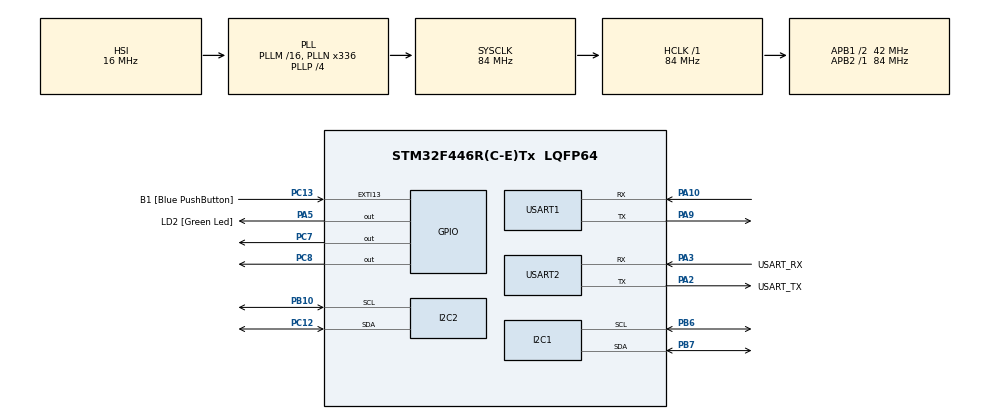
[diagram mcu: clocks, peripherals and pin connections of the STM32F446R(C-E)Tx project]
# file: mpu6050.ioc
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I2C1.I2C_Mode=I2C_Fast
Mcu.Family=STM32F4
Mcu.Name=STM32F446R(C-E)Tx
Mcu.Package=LQFP64
NVIC.PriorityGroup=NVIC_PRIORITYGROUP_0
PA10.Mode=Asynchronous
PA10.Signal=USART1_RX
PA13.GPIO_Label=TMS
PA13.Mode=Serial_Wire
PA13.Signal=SYS_JTMS-SWDIO
PA14.GPIO_Label=TCK
PA14.Mode=Serial_Wire
PA14.Signal=SYS_JTCK-SWCLK
PA2.GPIO_Label=USART_TX
PA2.Mode=Asynchronous
PA2.Signal=USART2_TX
PA3.GPIO_Label=USART_RX
PA3.Mode=Asynchronous
PA3.Signal=USART2_RX
PA5.GPIO_Label=LD2 [Green Led]
PA5.Signal=GPIO_Output
PA9.Mode=Asynchronous
PA9.Signal=USART1_TX
PB10.Mode=I2C
PB10.Signal=I2C2_SCL
PB3.GPIO_Label=SWO
PB3.Signal=SYS_JTDO-SWO
PB6.Mode=I2C
PB6.Signal=I2C1_SCL
PB7.Mode=I2C
PB7.Signal=I2C1_SDA
PC12.Mode=I2C
PC12.Signal=I2C2_SDA
PC13.GPIO_Label=B1 [Blue PushButton]
PC13.GPIO_ModeDefaultEXTI=GPIO_MODE_IT_FALLING
PC13.Signal=GPXTI13
PC14-OSC32_IN.Mode=LSE-External-Oscillator
PC14-OSC32_IN.Signal=RCC_OSC32_IN
PC15-OSC32_OUT.Mode=LSE-External-Oscillator
PC15-OSC32_OUT.Signal=RCC_OSC32_OUT
PC7.Signal=GPIO_Output
PC8.Signal=GPIO_Output
PH0-OSC_IN.Mode=HSE-External-Oscillator
PH0-OSC_IN.Signal=RCC_OSC_IN
PH1-OSC_OUT.Mode=HSE-External-Oscillator
PH1-OSC_OUT.Signal=RCC_OSC_OUT
ProjectManager.HeapSize=0x200
ProjectManager.StackSize=0x400
ProjectManager.TargetToolchain=STM32CubeIDE
RCC.48MHZClocksFreq_Value=84000000
RCC.AHBFreq_Value=84000000
RCC.APB1CLKDivider=RCC_HCLK_DIV2
RCC.APB1Freq_Value=42000000
RCC.APB1TimFreq_Value=84000000
RCC.APB2Freq_Value=84000000
RCC.APB2TimFreq_Value=84000000
RCC.CortexFreq_Value=84000000
RCC.FLatency-AdvancedSettings=FLASH_LATENCY_2
RCC.HCLKFreq_Value=84000000
RCC.HSE_VALUE=8000000
RCC.HSI_VALUE=16000000
RCC.PLLN=336
RCC.PLLP=RCC_PLLP_DIV4
RCC.SYSCLKFreq_VALUE=84000000
RCC.SYSCLKSource=RCC_SYSCLKSOURCE_PLLCLK
RCC.USBFreq_Value=168000000
RCC.VCOOutputFreq_Value=336000000
USART1.VirtualMode=VM_ASYNC
USART2.VirtualMode=VM_ASYNC
board=NUCLEO-F446RE

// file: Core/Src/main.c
/* USER CODE BEGIN Header */
/**
  ******************************************************************************
  * @file           : main.c
  * @brief          : Main program body
  ******************************************************************************
  * @attention
  *
  * Copyright (c) 2023 STMicroelectronics.
  * All rights reserved.
  *
  * This software is licensed under terms that can be found in the LICENSE file
  * in the root directory of this software component.
  * If no LICENSE file comes with this software, it is provided AS-IS.
  *
  ******************************************************************************
  */
/* USER CODE END Header */
#include "main.h"

/* USER CODE BEGIN Includes */
#include <stdio.h>
#include <string.h>
#include <stdlib.h>
#include <math.h>
#include <stdbool.h>
/* USER CODE END Includes */

/* USER CODE BEGIN PD */
#define MPU6050_ADDRNN 0x69<<1
#define MPU6050_ADDR 0x68<<1
#define PWR_MGMT_1_REG 0x6B
#define SMPLRT_DIV_REG 0x19
#define GYRO_CNFG_REG 0x1B
#define ACC_CNFG_REG 0x1C
#define LPF_REG 0x1A
/* USER CODE END PD */

I2C_HandleTypeDef hi2c1;
I2C_HandleTypeDef hi2c2;

UART_HandleTypeDef huart1;
UART_HandleTypeDef huart2;

/* USER CODE BEGIN PV */
uint8_t data;
uint8_t buffer[2],tuffer[6],cuffer[6]; // ham gyro ve acc değerlerinin tutulduğu listeler
int16_t gyro_raw[3],acc_raw[3];        // anlamlandırılmış ham değerler
float gyro_cal[3],acc_cal[3]; // kalibrasyon offsetlerini tutan liste
int16_t acc_total_vector;
float angle_pitch_gyro, angle_roll_gyro;
float angle_pitch_acc, angle_roll_acc, angle_pitch_acc_sum, angle_roll_acc_sum,acc_total_vector_sum;
float angle_pitch,angle_roll;
int16_t raw_temp;
float temp;
int i;
float prevtime,prevtime1,time1,elapsedtime1,prevtime2,time2,elapsedtime2;
HAL_StatusTypeDef set_gyro;
/* USER CODE END PV */

void SystemClock_Config(void);
static void MX_GPIO_Init(void);
static void MX_USART2_UART_Init(void);
static void MX_I2C1_Init(void);
static void MX_USART1_UART_Init(void);
static void MX_I2C2_Init(void);
/* USER CODE BEGIN PFP */
uint8_t address1[10];
     uint8_t address[10];
     uint8_t k = 0;
     uint8_t m = 0;
/* USER CODE END PFP */

int main(void)
{

  /* MCU Configuration--------------------------------------------------------*/

  /* Reset of all peripherals, Initializes the Flash interface and the Systick. */
  HAL_Init();

  /* Configure the system clock */
  SystemClock_Config();

  /* Initialize all configured peripherals */
  MX_GPIO_Init();
  MX_USART2_UART_Init();
  MX_I2C1_Init();
  MX_USART1_UART_Init();
  MX_I2C2_Init();
  /* USER CODE BEGIN 2 */
  // PWR_MGMT_1 CNFG
      data = 0x00;
      HAL_I2C_Mem_Write (&hi2c1, MPU6050_ADDR, PWR_MGMT_1_REG, 1, &data, 1, HAL_MAX_DELAY);
      HAL_I2C_Mem_Write (&hi2c2, MPU6050_ADDR, PWR_MGMT_1_REG, 1, &data, 1, HAL_MAX_DELAY);

      //kullanılan birimin pointer olarak döndürülmesi, cihaz slave adresi, register adresi, register boyutu, verinin pointer
      //olarak döndürülmesi, verinin boyutu , zaman aşımıı değeri
      // GYRO CNFG --> +-500 derece/saniye --> 08
      data = 0x08;
      HAL_I2C_Mem_Write (&hi2c1, MPU6050_ADDR, GYRO_CNFG_REG, 1, &data, 1, HAL_MAX_DELAY);
      HAL_I2C_Mem_Write (&hi2c2, MPU6050_ADDR, GYRO_CNFG_REG, 1, &data, 1, HAL_MAX_DELAY);

      // ACC CNFG --> +-8g --> 10
      data = 0x10;

      HAL_I2C_Mem_Write (&hi2c1, MPU6050_ADDR, ACC_CNFG_REG, 1, &data, 1, HAL_MAX_DELAY);
      HAL_I2C_Mem_Write (&hi2c2, MPU6050_ADDR, ACC_CNFG_REG, 1, &data, 1, HAL_MAX_DELAY);

      data = 0x03;

      HAL_I2C_Mem_Write (&hi2c1, MPU6050_ADDR, LPF_REG, 1, &data, 1, HAL_MAX_DELAY);
      HAL_I2C_Mem_Write (&hi2c2, MPU6050_ADDR, LPF_REG, 1, &data, 1, HAL_MAX_DELAY);

      for(i=0; i<200; i++)
      {
    	  prevtime2 = time2;
    	  time2 = HAL_GetTick();
    	  elapsedtime2=(time2-prevtime2)*1000;

    	  cuffer[0]=0x43;
    	  HAL_I2C_Master_Transmit(&hi2c1,MPU6050_ADDR,cuffer,1,HAL_MAX_DELAY);
			HAL_I2C_Master_Receive(&hi2c1,MPU6050_ADDR,cuffer,6,HAL_MAX_DELAY);
			HAL_I2C_Master_Transmit(&hi2c2,MPU6050_ADDR,cuffer,1,HAL_MAX_DELAY);
			HAL_I2C_Master_Receive(&hi2c2,MPU6050_ADDR,cuffer,6,HAL_MAX_DELAY);

    	  gyro_raw[0] = (cuffer[0] << 8 | cuffer[1]);
    	  gyro_raw[1] = (cuffer[2] << 8 | cuffer[3]);
    	  gyro_raw[2] = (cuffer[4] << 8 | cuffer[5]);

    	  gyro_cal[0] += gyro_raw[0];
    	  gyro_cal[1] += gyro_raw[1];
    	  gyro_cal[2] += gyro_raw[2];

    	  HAL_Delay(3);

      }

      gyro_cal[0] /= 200;
      gyro_cal[1] /= 200;
      gyro_cal[2] /= 200;

      HAL_GPIO_TogglePin(GPIOA, GPIO_PIN_5);
      HAL_Delay(1000);

//      for(int j = 0; j < 255; j++){
//          	  if(!HAL_I2C_IsDeviceReady(&hi2c2, j, 1, 10)){
//          		  address[k] = j;
//          		  k++;
//          	  }
//
//            }
      for(int i = 0; i < 255; i++){
          	  if(!HAL_I2C_IsDeviceReady(&hi2c1, i, 1, 100)){
          		  address1[m] = i;
          		  m++;
          	  }

            }

  /* USER CODE END 2 */

  /* Infinite loop */
  /* USER CODE BEGIN WHILE */
  while (1)
  {
	  prevtime1 = time1;
	 	  	  time1 = HAL_GetTick();
	 	  	  elapsedtime1=(time1-prevtime1)*1000;

	 	  	  tuffer[0]=0x3B;
	 	  	 HAL_I2C_Master_Transmit(&hi2c1,MPU6050_ADDR,tuffer,1,HAL_MAX_DELAY);
	   	     HAL_I2C_Master_Receive(&hi2c1,MPU6050_ADDR,tuffer,6,HAL_MAX_DELAY);
	 	  	 HAL_I2C_Master_Transmit(&hi2c2,MPU6050_ADDR,tuffer,1,HAL_MAX_DELAY);
	 	  	 HAL_I2C_Master_Receive(&hi2c2,MPU6050_ADDR,tuffer,6,HAL_MAX_DELAY);

	 	  	  // Acc Raw Values
	 	  	  acc_raw[0] = (tuffer[0] << 8 | tuffer[1]);
	 	  	  acc_raw[1] = (tuffer[2] << 8 | tuffer[3]);
	 	  	  acc_raw[2] = (tuffer[4] << 8 | tuffer[5]);

	 	  	  buffer[0]=0x41;
	 	  	  HAL_I2C_Master_Transmit(&hi2c1,MPU6050_ADDR,buffer,1,HAL_MAX_DELAY);
	 	  	  HAL_I2C_Master_Receive(&hi2c1,MPU6050_ADDR,buffer,2,HAL_MAX_DELAY);
	 	  	  HAL_I2C_Master_Transmit(&hi2c2,MPU6050_ADDR,buffer,1,HAL_MAX_DELAY);
	 	  	  HAL_I2C_Master_Receive(&hi2c2,MPU6050_ADDR,buffer,2,HAL_MAX_DELAY);

	 	  	  // Temperature Values
	 	  	  raw_temp = (buffer[0] << 8 | buffer[1]);
	 	  	  temp = (raw_temp / 340.0) + 36.53;

	 	  	  cuffer[0]=0x43;
	 	  	  HAL_I2C_Master_Transmit(&hi2c1,MPU6050_ADDR,cuffer,1,HAL_MAX_DELAY);
	 	  	  HAL_I2C_Master_Receive(&hi2c1,MPU6050_ADDR,cuffer,6,HAL_MAX_DELAY);
	 	  	  HAL_I2C_Master_Transmit(&hi2c2,MPU6050_ADDR,cuffer,1,HAL_MAX_DELAY);
	 	  	  HAL_I2C_Master_Receive(&hi2c2,MPU6050_ADDR,cuffer,6,HAL_MAX_DELAY);
	 	  	  // Gyro Raw Values
	 	  	  gyro_raw[0] = (cuffer[0] << 8 | cuffer[1]);
	 	  	  gyro_raw[1] = (cuffer[2] << 8 | cuffer[3]);
	 	  	  gyro_raw[2] = (cuffer[4] << 8 | cuffer[5]);

	 	  	  gyro_raw[0] -= gyro_cal[0];
	 	  	  gyro_raw[1] -= gyro_cal[1];
	 	  	  gyro_raw[2] -= gyro_cal[2];

	 	  	  angle_pitch_gyro += gyro_raw[0] * 0.0000611;
	 	  	  angle_roll_gyro += gyro_raw[1] * 0.0000611;

	 	  	  angle_pitch_gyro += angle_roll_gyro * sin(gyro_raw[2] * 0.000001066);
	 	  	  angle_roll_gyro -= angle_pitch_gyro * sin(gyro_raw[2] * 0.000001066);

	 	  	  acc_total_vector = sqrt((acc_raw[0]*acc_raw[0])+(acc_raw[1]*acc_raw[1])+(acc_raw[2]*acc_raw[2]));

	 	  	  //57.296 = 1 / (3.142 / 180)
	 	  	  angle_pitch_acc = asin((float)acc_raw[1]/acc_total_vector)* 57.296;
	 	  	  angle_roll_acc = asin((float)acc_raw[0]/acc_total_vector)* -57.296;

	 	  	  angle_pitch_acc -= 0;//0.05;
	 	  	  angle_roll_acc -= 0;//-1.32;

	 	  	  if(set_gyro){
	 	  		  angle_pitch = angle_pitch_gyro * 0.9996 + angle_pitch_acc * 0.0004;
	 	  		  angle_roll = angle_roll_gyro * 0.9996 + angle_roll_acc * 0.0004;
	 	  		}
	 	  	  else
	 	  	  {
	 	  		  angle_pitch = angle_pitch_acc;
	 	  		  set_gyro = true;
	 	  		}

	 	  	  while((HAL_GetTick() - prevtime)*1000 < 4000);
	 	  	  prevtime = HAL_GetTick();
    /* USER CODE END WHILE */

  }
}

void SystemClock_Config(void)
{
  RCC_OscInitTypeDef RCC_OscInitStruct = {0};
  RCC_ClkInitTypeDef RCC_ClkInitStruct = {0};

  /** Configure the main internal regulator output voltage
  */
  __HAL_RCC_PWR_CLK_ENABLE();
  __HAL_PWR_VOLTAGESCALING_CONFIG(PWR_REGULATOR_VOLTAGE_SCALE3);

  /** Initializes the RCC Oscillators according to the specified parameters
  * in the RCC_OscInitTypeDef structure.
  */
  RCC_OscInitStruct.OscillatorType = RCC_OSCILLATORTYPE_HSI;
  RCC_OscInitStruct.HSIState = RCC_HSI_ON;
  RCC_OscInitStruct.HSICalibrationValue = RCC_HSICALIBRATION_DEFAULT;
  RCC_OscInitStruct.PLL.PLLState = RCC_PLL_ON;
  RCC_OscInitStruct.PLL.PLLSource = RCC_PLLSOURCE_HSI;
  RCC_OscInitStruct.PLL.PLLM = 16;
  RCC_OscInitStruct.PLL.PLLN = 336;
  RCC_OscInitStruct.PLL.PLLP = RCC_PLLP_DIV4;
  RCC_OscInitStruct.PLL.PLLQ = 2;
  RCC_OscInitStruct.PLL.PLLR = 2;
  if (HAL_RCC_OscConfig(&RCC_OscInitStruct) != HAL_OK)
  {
    Error_Handler();
  }

  /** Initializes the CPU, AHB and APB buses clocks
  */
  RCC_ClkInitStruct.ClockType = RCC_CLOCKTYPE_HCLK|RCC_CLOCKTYPE_SYSCLK
                              |RCC_CLOCKTYPE_PCLK1|RCC_CLOCKTYPE_PCLK2;
  RCC_ClkInitStruct.SYSCLKSource = RCC_SYSCLKSOURCE_PLLCLK;
  RCC_ClkInitStruct.AHBCLKDivider = RCC_SYSCLK_DIV1;
  RCC_ClkInitStruct.APB1CLKDivider = RCC_HCLK_DIV2;
  RCC_ClkInitStruct.APB2CLKDivider = RCC_HCLK_DIV1;

  if (HAL_RCC_ClockConfig(&RCC_ClkInitStruct, FLASH_LATENCY_2) != HAL_OK)
  {
    Error_Handler();
  }
}

static void MX_I2C1_Init(void)
{

  hi2c1.Instance = I2C1;
  hi2c1.Init.ClockSpeed = 400000;
  hi2c1.Init.DutyCycle = I2C_DUTYCYCLE_2;
  hi2c1.Init.OwnAddress1 = 0;
  hi2c1.Init.AddressingMode = I2C_ADDRESSINGMODE_7BIT;
  hi2c1.Init.DualAddressMode = I2C_DUALADDRESS_DISABLE;
  hi2c1.Init.OwnAddress2 = 0;
  hi2c1.Init.GeneralCallMode = I2C_GENERALCALL_DISABLE;
  hi2c1.Init.NoStretchMode = I2C_NOSTRETCH_DISABLE;
  if (HAL_I2C_Init(&hi2c1) != HAL_OK)
  {
    Error_Handler();
  }

}

static void MX_I2C2_Init(void)
{

  hi2c2.Instance = I2C2;
  hi2c2.Init.ClockSpeed = 100000;
  hi2c2.Init.DutyCycle = I2C_DUTYCYCLE_2;
  hi2c2.Init.OwnAddress1 = 0;
  hi2c2.Init.AddressingMode = I2C_ADDRESSINGMODE_7BIT;
  hi2c2.Init.DualAddressMode = I2C_DUALADDRESS_DISABLE;
  hi2c2.Init.OwnAddress2 = 0;
  hi2c2.Init.GeneralCallMode = I2C_GENERALCALL_DISABLE;
  hi2c2.Init.NoStretchMode = I2C_NOSTRETCH_DISABLE;
  if (HAL_I2C_Init(&hi2c2) != HAL_OK)
  {
    Error_Handler();
  }

}

static void MX_USART1_UART_Init(void)
{

  huart1.Instance = USART1;
  huart1.Init.BaudRate = 115200;
  huart1.Init.WordLength = UART_WORDLENGTH_8B;
  huart1.Init.StopBits = UART_STOPBITS_1;
  huart1.Init.Parity = UART_PARITY_NONE;
  huart1.Init.Mode = UART_MODE_TX_RX;
  huart1.Init.HwFlowCtl = UART_HWCONTROL_NONE;
  huart1.Init.OverSampling = UART_OVERSAMPLING_16;
  if (HAL_UART_Init(&huart1) != HAL_OK)
  {
    Error_Handler();
  }

}

static void MX_USART2_UART_Init(void)
{

  huart2.Instance = USART2;
  huart2.Init.BaudRate = 115200;
  huart2.Init.WordLength = UART_WORDLENGTH_8B;
  huart2.Init.StopBits = UART_STOPBITS_1;
  huart2.Init.Parity = UART_PARITY_NONE;
  huart2.Init.Mode = UART_MODE_TX_RX;
  huart2.Init.HwFlowCtl = UART_HWCONTROL_NONE;
  huart2.Init.OverSampling = UART_OVERSAMPLING_16;
  if (HAL_UART_Init(&huart2) != HAL_OK)
  {
    Error_Handler();
  }

}

static void MX_GPIO_Init(void)
{
  GPIO_InitTypeDef GPIO_InitStruct = {0};

  /* GPIO Ports Clock Enable */
  __HAL_RCC_GPIOC_CLK_ENABLE();
  __HAL_RCC_GPIOH_CLK_ENABLE();
  __HAL_RCC_GPIOA_CLK_ENABLE();
  __HAL_RCC_GPIOB_CLK_ENABLE();

  /*Configure GPIO pin Output Level */
  HAL_GPIO_WritePin(LD2_GPIO_Port, LD2_Pin, GPIO_PIN_RESET);

  /*Configure GPIO pin Output Level */
  HAL_GPIO_WritePin(GPIOC, GPIO_PIN_7|GPIO_PIN_8, GPIO_PIN_RESET);

  /*Configure GPIO pin : B1_Pin */
  GPIO_InitStruct.Pin = B1_Pin;
  GPIO_InitStruct.Mode = GPIO_MODE_IT_FALLING;
  GPIO_InitStruct.Pull = GPIO_NOPULL;
  HAL_GPIO_Init(B1_GPIO_Port, &GPIO_InitStruct);

  /*Configure GPIO pin : LD2_Pin */
  GPIO_InitStruct.Pin = LD2_Pin;
  GPIO_InitStruct.Mode = GPIO_MODE_OUTPUT_PP;
  GPIO_InitStruct.Pull = GPIO_NOPULL;
  GPIO_InitStruct.Speed = GPIO_SPEED_FREQ_LOW;
  HAL_GPIO_Init(LD2_GPIO_Port, &GPIO_InitStruct);

  /*Configure GPIO pins : PC7 PC8 */
  GPIO_InitStruct.Pin = GPIO_PIN_7|GPIO_PIN_8;
  GPIO_InitStruct.Mode = GPIO_MODE_OUTPUT_PP;
  GPIO_InitStruct.Pull = GPIO_NOPULL;
  GPIO_InitStruct.Speed = GPIO_SPEED_FREQ_LOW;
  HAL_GPIO_Init(GPIOC, &GPIO_InitStruct);

}

void Error_Handler(void)
{
  __disable_irq();
  while (1)
  {
  }
}
